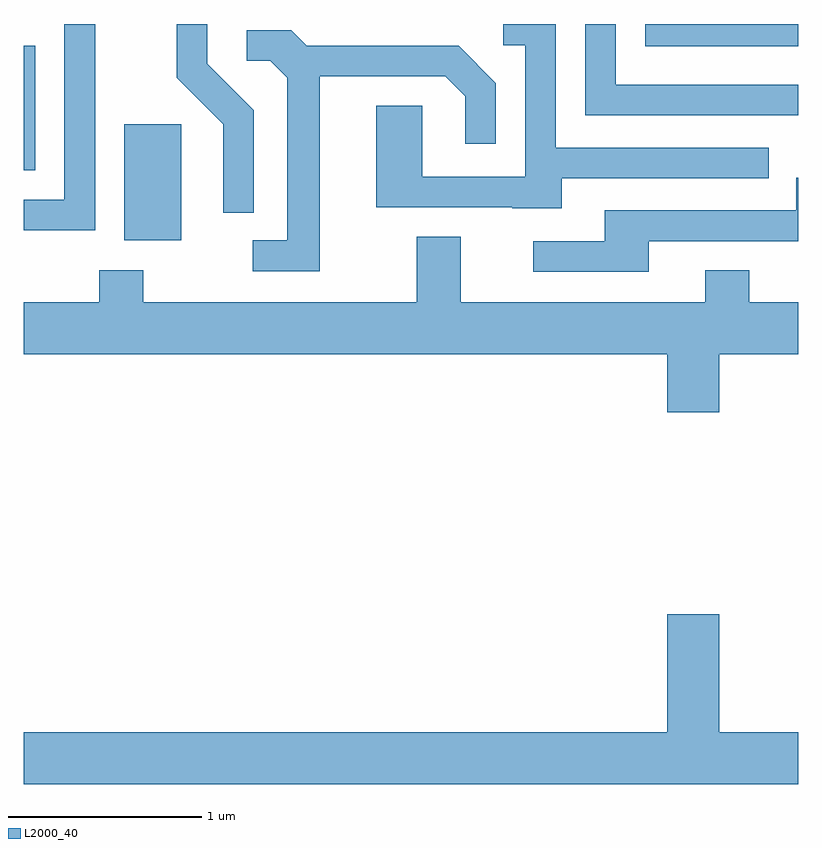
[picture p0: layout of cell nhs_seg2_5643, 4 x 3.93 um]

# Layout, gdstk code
import gdstk
lib = gdstk.Library(unit=1e-6, precision=1e-09)
def R(c, l, rs):  # rectangles x0, y0, x1, y1
    for r in rs: c.add(gdstk.rectangle(r[:2], r[2:], *l))
def P(c, l, *ps):  # polygons
    for p in ps: c.add(gdstk.Polygon(p, *l))
L2000_40 = (2000, 40)

nhs_seg2_5643 = lib.new_cell('nhs_seg2_5643')
R(nhs_seg2_5643, L2000_40, [(352.131,1046.686,352.424,1047.284), (351.611,1047.046,351.669,1047.689), (354.821,1047.686,355.611,1047.802)])
P(nhs_seg2_5643, L2000_40, [(351.979,1047.802),(351.821,1047.802),(351.821,1046.894),(351.611,1046.894),(351.611,1046.736),(351.979,1046.736)],
  [(352.799,1047.357),(352.559,1047.597),(352.559,1047.802),(352.401,1047.802),(352.401,1047.524),(352.641,1047.284),(352.641,1046.828),(352.799,1046.828)],
  [(355.611,1047.489),(354.669,1047.489),(354.669,1047.802),(354.511,1047.802),(354.511,1047.331),(355.611,1047.331)],
  [(354.389,1047.006),(355.458,1047.006),(355.458,1047.164),(354.359,1047.164),(354.359,1047.802),(354.088,1047.802),(354.088,1047.691),(354.201,1047.691),(354.201,1047.014),(353.669,1047.014),(353.669,1047.379),(353.431,1047.379),(353.431,1046.856),(354.135,1046.856),(354.135,1046.851),(354.389,1046.851)],
  [(353.139,1047.531),(353.789,1047.531),(353.891,1047.429),(353.891,1047.183),(354.049,1047.183),(354.049,1047.497),(353.857,1047.689),(353.072,1047.689),(352.992,1047.769),(352.763,1047.769),(352.763,1047.611),(352.884,1047.611),(352.971,1047.524),(352.971,1046.684),(352.793,1046.684),(352.793,1046.526),(353.139,1046.526)],
  [(354.839,1046.681),(355.611,1046.681),(355.611,1047.009),(355.601,1047.009),(355.601,1046.839),(354.611,1046.839),(354.611,1046.679),(354.243,1046.679),(354.243,1046.521),(354.839,1046.521)],
  [(355.204,1046.096),(355.611,1046.096),(355.611,1046.364),(355.359,1046.364),(355.359,1046.529),(355.131,1046.529),(355.131,1046.364),(353.869,1046.364),(353.869,1046.704),(353.641,1046.704),(353.641,1046.364),(352.229,1046.364),(352.229,1046.529),(352.001,1046.529),(352.001,1046.364),(351.611,1046.364),(351.611,1046.096),(354.936,1046.096),(354.936,1045.796),(355.204,1045.796)],
  [(355.611,1044.144),(355.204,1044.144),(355.204,1044.754),(354.936,1044.754),(354.936,1044.144),(351.611,1044.144),(351.611,1043.876),(355.611,1043.876)])

lib.write_gds('nhs_seg2_5643.gds')
